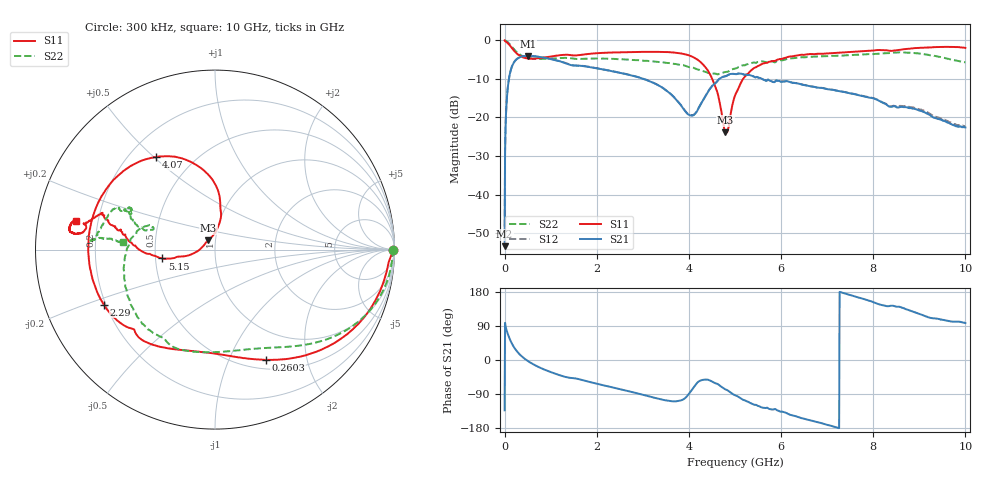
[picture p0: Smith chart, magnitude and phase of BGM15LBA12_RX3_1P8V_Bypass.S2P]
!Agilent Technologies,E5071C,MY46316587,B.13.01
!Date: Thu Dec 07 14:06:59 2017
!Data & Calibration Information:
!Freq	S11:SOLT2(ON)	S21:SOLT2(ON)	S12:SOLT2(ON)	S22:SOLT2(ON)
!PortZ  Port1:50+j0  Port2:50+j0
!Above PortZ is port z conversion or system Z0 setting when saving the data.
!When reading, reference impedance value at option line is always used.
# Hz S dB R 50
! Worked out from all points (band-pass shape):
!   1001 points, 300 kHz to 10 GHz, reference 50 ohm
!   highest |S21| = -4.06 dB at 510.3 MHz (marker M1); lowest = -53.4 dB at 300 kHz (marker M2)
!   |S21| within 3 dB of the highest: 152.5 MHz to 1.891 GHz (1.739 GHz wide, 170 % of centre)
!   lowest |S11| = -23.9 dB at 4.79 GHz (marker M3), VSWR 1.14, Z = 46.1 + j4.78 ohm
!   |S11| at or under -10 dB: 4.504 GHz to 5.178 GHz (673.5 MHz wide, 13.9 % of centre)
!   |S22| runs from -8.9 to -0.1 dB; largest |S21 - S12| = 0.0059
!   S11 on the Smith chart (normalised r, x): 300 kHz: open; 260.3 MHz: 0.61, -1.38; 2.29 GHz: 0.19, -0.23; 4.07 GHz: 0.31, +0.51; 5.15 GHz: 0.54, -0.06; 10 GHz: 0.12, +0.10
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300000  -0.07 -0.3  -53.39 -132.9  -50.99 -110.9  -0.08 -0.0
6.02982e7  -0.66 -20.8  -13.40 71.9  -13.32 71.9  -0.40 -16.1
8.02976e7  -0.90 -26.9  -11.18 65.1  -11.12 64.9  -0.63 -20.9
1.502955e8  -1.93 -45.4  -7.13 45.3  -7.09 45.1  -1.61 -34.9
2.602922e8  -3.40 -65.4  -4.95 24.1  -4.92 23.9  -3.06 -49.7
5.102847e8  -4.76 -90.9  -4.06 -3.2  -4.05 -3.3  -4.60 -70.3
1.01027e9  -4.22 -117.5  -4.92 -32.3  -4.89 -32.4  -4.78 -98.4
1.67025e9  -3.78 -137.7  -6.66 -52.4  -6.61 -52.3  -4.84 -122.0
2.290231e9  -3.21 -153.7  -7.93 -70.8  -7.92 -70.6  -4.83 -137.2
3.3402e9  -3.02 168.2  -11.71 -102.2  -11.72 -101.8  -5.65 -166.0
3.730188e9  -3.25 146.6  -15.53 -108.9  -15.48 -108.7  -6.21 179.0
4.070178e9  -4.27 122.5  -19.53 -78.4  -19.43 -78.2  -7.05 166.2
4.500165e9  -9.89 86.5  -11.93 -56.8  -11.88 -56.8  -8.63 160.1
4.630161e9  -14.08 80.1  -10.38 -63.8  -10.38 -64.0  -8.85 161.7
4.790156e9  -23.90 126.0  -9.35 -77.5  -9.34 -77.6  -8.24 163.2
4.850154e9  -23.12 165.4  -9.03 -81.0  -9.01 -81.0  -8.11 163.9
5.00015e9  -14.36 -168.3  -8.80 -92.9  -8.78 -92.9  -7.37 163.3
5.150146e9  -10.53 -170.5  -8.73 -103.2  -8.70 -103.2  -6.57 161.8
5.600132e9  -6.08 172.7  -10.12 -125.8  -10.08 -125.9  -5.47 154.2
6.6701e9  -3.62 161.9  -12.02 -160.2  -11.98 -160.1  -4.29 158.5
8.34005e9  -2.71 169.4  -17.17 142.0  -17.08 141.8  -3.35 175.5
1e10  -2.01 168.3  -22.64 97.4  -22.28 98.0  -5.75 175.6
